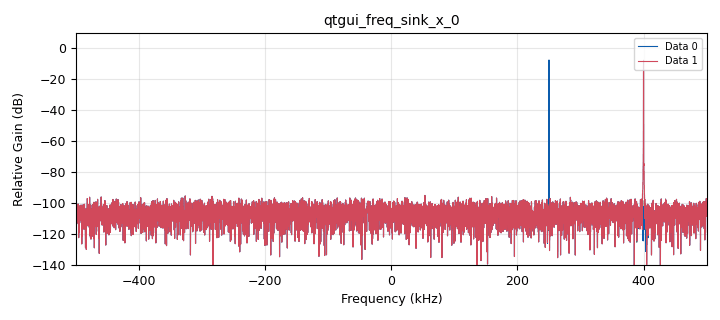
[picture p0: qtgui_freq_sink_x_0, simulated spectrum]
options:
  parameters:
    generate_options: qt_gui
    id: simple_spectrum
    output_language: python
    title: Not titled yet
  states: {}

blocks:
- name: flo
  id: variable_qtgui_range
  parameters:
    start: '-500e3'
    step: '1'
    stop: 500e3
    value: 250e3
  states: {}
- name: msg_size
  id: variable
  parameters:
    value: 2*nfft
  states: {}
- name: nfft
  id: variable
  parameters:
    value: 8*1024
  states: {}
- name: noise_level_db
  id: variable_qtgui_range
  parameters:
    start: '-120'
    step: '1'
    stop: '0'
    value: '-60'
  states: {}
- name: samp_rate
  id: variable
  parameters:
    value: 1e6
  states: {}
- name: analog_noise_source_x_0
  id: analog_noise_source_x
  parameters:
    amp: 10**(noise_level_db / 20)
    noise_type: analog.GR_GAUSSIAN
    seed: '0'
    type: complex
  states: {}
- name: analog_sig_source_x_0
  id: analog_sig_source_x
  parameters:
    amp: '1'
    freq: flo
    offset: '0'
    phase: '0'
    samp_rate: samp_rate
    type: complex
    waveform: analog.GR_COS_WAVE
  states: {}
- name: analog_sig_source_x_0_0
  id: analog_sig_source_x
  parameters:
    amp: '1'
    freq: 400e3
    offset: '0'
    phase: '0'
    samp_rate: samp_rate
    type: complex
    waveform: analog.GR_COS_WAVE
  states: {}
- name: blocks_add_xx_0
  id: blocks_add_xx
  parameters:
    type: complex
  states: {}
- name: blocks_add_xx_0_0
  id: blocks_add_xx
  parameters:
    type: complex
  states: {}
- name: blocks_interleave_0
  id: blocks_interleave
  parameters:
    type: complex
  states: {}
- name: blocks_stream_to_vector_0
  id: blocks_stream_to_vector
  parameters:
    num_items: msg_size
    type: complex
  states: {}
- name: blocks_throttle2_0
  id: blocks_throttle2
  parameters:
    samples_per_second: 2*samp_rate
    type: complex
  states: {}
- name: qtgui_freq_sink_x_0
  id: qtgui_freq_sink_x
  parameters:
    bw: samp_rate
    fc: '0'
    fftsize: nfft
    nconnections: '2'
    type: complex
    wintype: window.WIN_BLACKMAN
  states: {}
- name: zeromq_push_sink_0
  id: zeromq_push_sink
  parameters:
    address: tcp://127.0.0.1:5555
    timeout: '100'
    type: complex
    vlen: msg_size
  states: {}

connections:
- [analog_noise_source_x_0, '0', blocks_add_xx_0, '1']
- [analog_noise_source_x_0, '0', blocks_add_xx_0_0, '1']
- [analog_sig_source_x_0, '0', blocks_add_xx_0, '0']
- [analog_sig_source_x_0_0, '0', blocks_add_xx_0_0, '0']
- [blocks_add_xx_0, '0', blocks_interleave_0, '0']
- [blocks_add_xx_0, '0', qtgui_freq_sink_x_0, '0']
- [blocks_add_xx_0_0, '0', blocks_interleave_0, '1']
- [blocks_add_xx_0_0, '0', qtgui_freq_sink_x_0, '1']
- [blocks_interleave_0, '0', blocks_throttle2_0, '0']
- [blocks_stream_to_vector_0, '0', zeromq_push_sink_0, '0']
- [blocks_throttle2_0, '0', blocks_stream_to_vector_0, '0']

metadata:
  file_format: 1
  grc_version: 3.10.7.0
